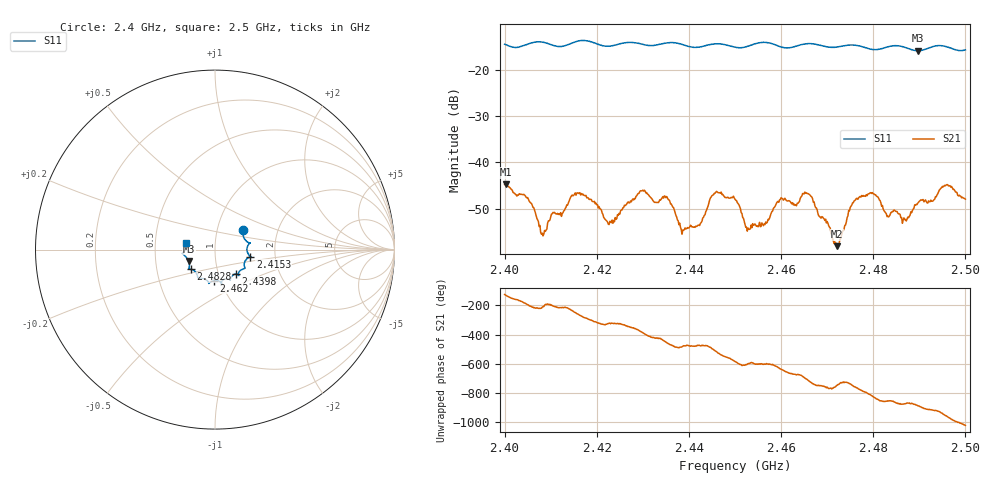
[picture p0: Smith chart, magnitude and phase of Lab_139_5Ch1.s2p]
# Hz S RI R 50
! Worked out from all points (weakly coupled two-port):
!   601 points, 2.4 GHz to 2.5 GHz, reference 50 ohm
!   highest |S21| = -44.72 dB at 2.4003 GHz (marker M1); lowest = -58.1 dB at 2.4722 GHz (marker M2)
!   lowest |S11| = -15.9 dB at 2.4897 GHz (marker M3), VSWR 1.38, Z = 36.9 - j4.84 ohm
!   |S11| at or under -10 dB: start of sweep to end of sweep
!   S12 and S22 are empty: the file has one direction only
!   S11 on the Smith chart (normalised r, x): 2.4 GHz: 1.33, +0.29; 2.4153 GHz: 1.48, -0.12; 2.4398 GHz: 1.21, -0.34; 2.462 GHz: 0.93, -0.33; 2.4828 GHz: 0.74, -0.17; 2.5 GHz: 0.72, +0.06
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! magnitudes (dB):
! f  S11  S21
! 2.4 GHz  -14.5  -44.8
! 2.4003 GHz  -14.6  -44.7
! 2.4053 GHz  -14.4  -48.4
! 2.4083 GHz  -14.1  -55.9
! 2.4153 GHz  -14.0  -46.6
! 2.4167 GHz  -13.7  -46.7
! 2.4227 GHz  -14.9  -53.4
! 2.4298 GHz  -14.5  -46.1
! 2.4333 GHz  -14.6  -48.7
! 2.4398 GHz  -15.0  -54.1
! 2.4457 GHz  -14.4  -46.6
! 2.45 GHz  -15.1  -47.9
! 2.4528 GHz  -14.9  -54.1
! 2.462 GHz  -15.2  -48.5
! 2.4667 GHz  -14.4  -47.4
! 2.4722 GHz  -15.1  -58.1
! 2.4767 GHz  -14.8  -48.0
! 2.4828 GHz  -15.1  -51.1
! 2.4833 GHz  -15.0  -51.8
! 2.4897 GHz  -15.9  -48.8
! 2.4958 GHz  -15.0  -44.8
! 2.5 GHz  -15.7  -47.9
